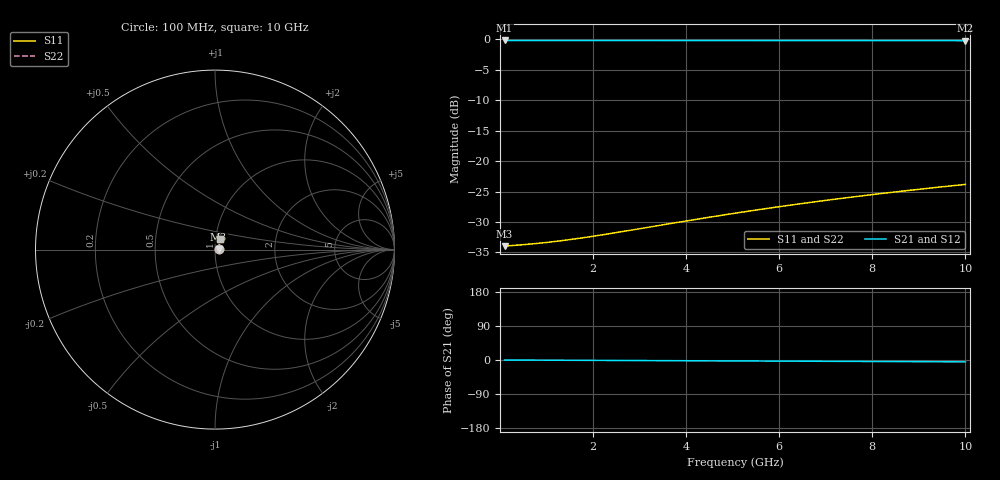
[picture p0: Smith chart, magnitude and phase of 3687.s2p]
# Hz S RI R 50.00
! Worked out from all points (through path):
!   100 points, 100 MHz to 10 GHz, reference 50 ohm
!   highest |S21| = -0.18 dB at 100 MHz (marker M1); lowest = -0.2 dB at 10 GHz (marker M2)
!   lowest |S11| = -34.0 dB at 100 MHz (marker M3), VSWR 1.04, Z = 52 + j0.0616 ohm
!   |S11| at or under -10 dB: start of sweep to end of sweep
!   |S22| runs from -34.0 to -23.8 dB; largest |S21 - S12| = 0
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1e8  0.02 0.000591  0.98 -0.000837  0.98 -0.000837  0.02 0.000591
6e8  0.0204 0.00354  0.9796 -0.00502  0.9796 -0.00502  0.0204 0.00354
8e8  0.0205 0.00472  0.9795 -0.00669  0.9795 -0.00669  0.0205 0.00472
1e9  0.0206 0.0059  0.9794 -0.00836  0.9794 -0.00836  0.0206 0.0059
1.2e9  0.0207 0.00708  0.9793 -0.01  0.9793 -0.01  0.0207 0.00708
1.4e9  0.0208 0.00826  0.9792 -0.0117  0.9792 -0.0117  0.0208 0.00826
1.8e9  0.021 0.0106  0.979 -0.015  0.979 -0.015  0.021 0.0106
2.1e9  0.0211 0.0124  0.9789 -0.0175  0.9789 -0.0175  0.0211 0.0124
2.4e9  0.0212 0.0142  0.9788 -0.02  0.9788 -0.02  0.0212 0.0142
3.4e9  0.0217 0.02  0.9783 -0.0284  0.9783 -0.0284  0.0217 0.02
4.3e9  0.0221 0.0253  0.9778 -0.0359  0.9778 -0.0359  0.0221 0.0253
5.1e9  0.0226 0.03  0.9773 -0.0425  0.9773 -0.0425  0.0226 0.03
5.5e9  0.0228 0.0324  0.9771 -0.0459  0.9771 -0.0459  0.0228 0.0324
5.9e9  0.0231 0.0347  0.9768 -0.0492  0.9768 -0.0492  0.0231 0.0347
6.3e9  0.0234 0.037  0.9765 -0.0525  0.9765 -0.0525  0.0234 0.037
6.7e9  0.0237 0.0394  0.9762 -0.0558  0.9762 -0.0558  0.0237 0.0394
7.1e9  0.024 0.0417  0.9759 -0.0591  0.9759 -0.0591  0.024 0.0417
7.5e9  0.0243 0.044  0.9755 -0.0624  0.9755 -0.0624  0.0243 0.044
7.9e9  0.0246 0.0464  0.9752 -0.0658  0.9752 -0.0658  0.0246 0.0464
8.4e9  0.0251 0.0493  0.9747 -0.0699  0.9747 -0.0699  0.0251 0.0493
9.2e9  0.0258 0.0539  0.9739 -0.0765  0.9739 -0.0765  0.0258 0.0539
1e10  0.0266 0.0585  0.973 -0.0831  0.973 -0.0831  0.0266 0.0585
